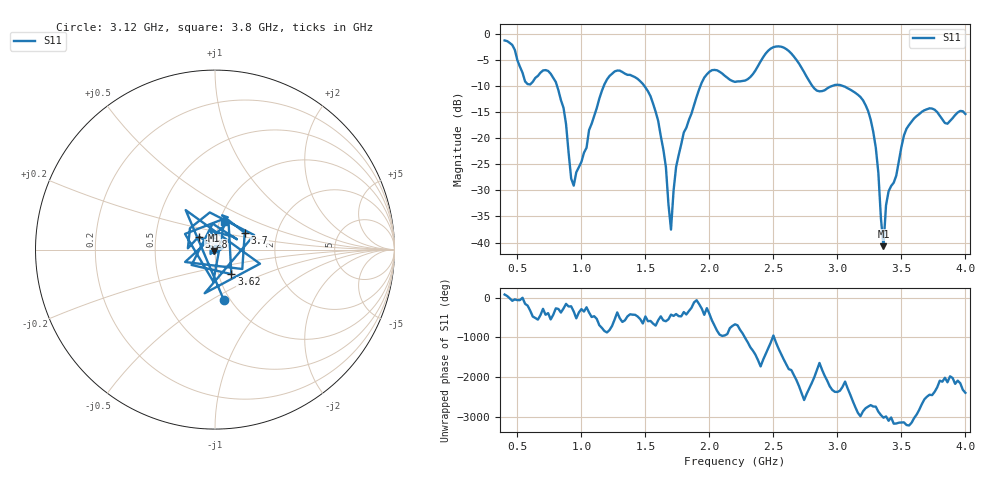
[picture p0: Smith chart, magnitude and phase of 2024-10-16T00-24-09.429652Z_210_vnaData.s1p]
! Created with skrf (http://scikit-rf.org).
# Hz S RI R 50.0
!freq ReS11 ImS11
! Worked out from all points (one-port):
!   181 points, 400 MHz to 4 GHz, reference 50 ohm
!   lowest |S11| = -40.7 dB at 3.36 GHz (marker M1), VSWR 1.02, Z = 49.3 - j0.592 ohm
!   |S11| at or under -10 dB: 810.8 MHz to 1.174 GHz (362.9 MHz wide, 36.6 % of centre); 1.494 GHz to 1.929 GHz (434.9 MHz wide, 25.4 % of centre); 3.052 GHz to end of sweep (the widest 3 of 4)
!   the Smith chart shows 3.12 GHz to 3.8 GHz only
!   S11 on the Smith chart (normalised r, x): 3.12 GHz: 0.93, -0.57; 3.28 GHz: 0.83, +0.12; 3.62 GHz: 1.15, -0.32; 3.7 GHz: 1.37, +0.27; 3.8 GHz: 1.05, +0.34
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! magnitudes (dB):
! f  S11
! 400 MHz  -1.2
! 580 MHz  -9.6
! 760 MHz  -7.6
! 860 MHz  -14.1
! 940 MHz  -29.1
! 1.18 GHz  -9.6
! 1.3 GHz  -7.0
! 1.56 GHz  -13.3
! 1.66 GHz  -25.5
! 1.7 GHz  -37.5
! 1.72 GHz  -30.0
! 1.76 GHz  -23.2
! 1.96 GHz  -8.3
! 2.2 GHz  -9.1
! 2.5 GHz  -2.5
! 2.66 GHz  -4.3
! 2.84 GHz  -10.8
! 3.1 GHz  -10.6
! 3.12 GHz  -10.9
! 3.28 GHz  -18.7
! 3.32 GHz  -26.6
! 3.36 GHz  -40.7
! 3.4 GHz  -30.2
! 3.56 GHz  -17.4
! 3.62 GHz  -15.7
! 3.7 GHz  -14.4
! 3.8 GHz  -15.7
! 4 GHz  -15.3
